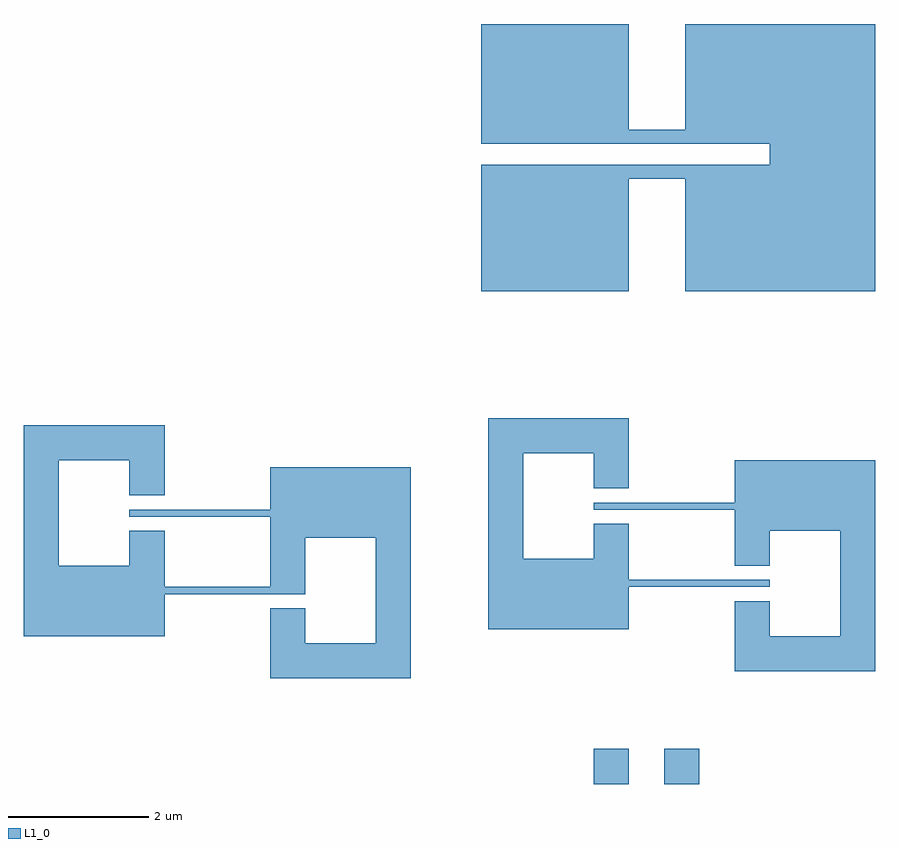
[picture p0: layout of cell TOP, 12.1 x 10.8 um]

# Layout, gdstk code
import gdstk
lib = gdstk.Library(unit=1e-6, precision=1e-09)
def R(c, l, rs):  # rectangles x0, y0, x1, y1
    for r in rs: c.add(gdstk.rectangle(r[:2], r[2:], *l))
def P(c, l, *ps):  # polygons
    for p in ps: c.add(gdstk.Polygon(p, *l))
L1_0 = (1, 0)

top = lib.new_cell('TOP')
R(top, L1_0, [(-0.5,0,0,0.5), (0.5,0,1,0.5)])
P(top, L1_0, [(-2.1,7),(-2.1,8.8),(2,8.8),(2,9.1),(-2.1,9.1),(-2.1,10.8),(0,10.8),(0,9.3),(0.8,9.3),(0.8,10.8),(3.5,10.8),(3.5,7),(0.8,7),(0.8,8.6),(0,8.6),(0,7)],
  [(-5.1,1.5),(-5.1,2.5),(-4.6,2.5),(-4.6,2),(-3.6,2),(-3.6,3.5),(-4.6,3.5),(-4.6,2.7),(-6.6,2.7),(-6.6,2.1),(-8.6,2.1),(-8.6,5.1),(-6.6,5.1),(-6.6,4.1),(-7.1,4.1),(-7.1,4.6),(-8.1,4.6),(-8.1,3.1),(-7.1,3.1),(-7.1,3.6),(-6.6,3.6),(-6.6,2.8),(-5.1,2.8),(-5.1,3.8),(-7.1,3.8),(-7.1,3.9),(-5.1,3.9),(-5.1,4.5),(-3.1,4.5),(-3.1,1.5)],
  [(1.5,1.6),(1.5,2.6),(2,2.6),(2,2.1),(3,2.1),(3,3.6),(2,3.6),(2,3.1),(1.5,3.1),(1.5,3.9),(-0.5,3.9),(-0.5,4),(1.5,4),(1.5,4.6),(3.5,4.6),(3.5,1.6)],
  [(-2,2.2),(-2,5.2),(0,5.2),(0,4.2),(-0.5,4.2),(-0.5,4.7),(-1.5,4.7),(-1.5,3.2),(-0.5,3.2),(-0.5,3.7),(0,3.7),(0,2.9),(2,2.9),(2,2.8),(0,2.8),(0,2.2)])

lib.write_gds('TOP.gds')
